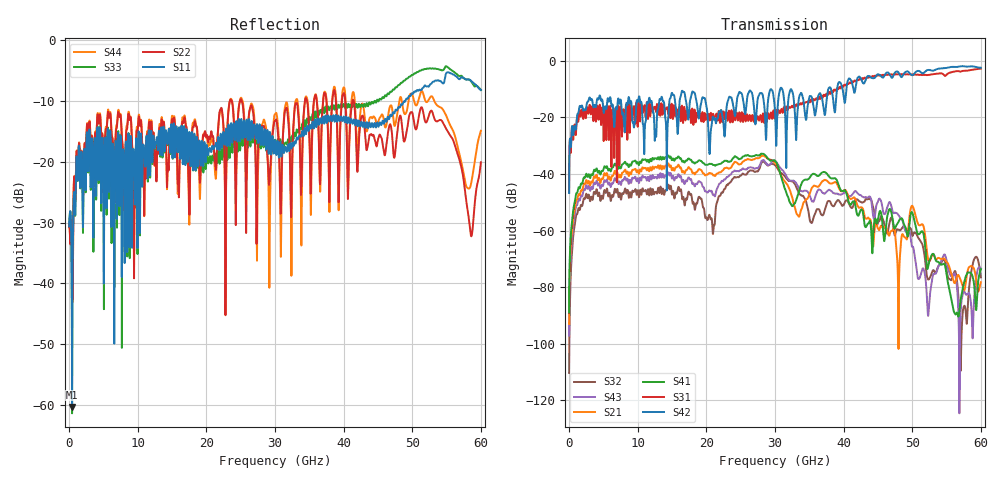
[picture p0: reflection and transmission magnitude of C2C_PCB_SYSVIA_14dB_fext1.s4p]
!$Gore$
!C2C PCB Topology at Nominal
!Tuned Ballou BGA and Tuned Mayfield BOR
!Created with Channel Assembly Tool v1.0.4
# Hz S RI R 50
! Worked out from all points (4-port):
!   6000 points, 10 MHz to 60 GHz, reference 50 ohm
!   strongest paths, dB at 10 MHz, 15.01 GHz, 30.01 GHz, 45.01 GHz, 60 GHz:
!     S42: -46.7, -11.4, -18.1, -4.7, -2.5
!     S31: -46.6, -16.1, -19.5, -5.1, -2.8
!     S41: -89.0, -35.1, -35.4, -55.9, -73.6
!     S21: -92.9, -38.7, -36.1, -59.3, -78.2
!     S43: -97.1, -41.6, -35.3, -49.7, -73.4
!     S32: -110.3, -47.3, -36.9, -57.3, -76.5
!   lowest |S11| = -60.4 dB at 440 MHz (marker M1), VSWR 1.00, Z = 50.1 - j0.0248 ohm
!   |S11| at or under -10 dB: start of sweep to 48.99 GHz
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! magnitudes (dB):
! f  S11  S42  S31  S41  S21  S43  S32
! 10 MHz  -30.6  -46.7  -46.6  -89.0  -92.9  -97.1  -110.3
! 440 MHz  -60.4  -23.0  -23.2  -56.7  -59.8  -62.8  -67.3
! 2.64 GHz  -15.2  -14.7  -16.4  -40.7  -43.0  -44.8  -48.1
! 20.97 GHz  -17.6  -19.8  -18.7  -36.8  -40.5  -47.4  -61.2
! 28.31 GHz  -17.2  -13.4  -19.0  -32.9  -33.5  -35.1  -35.5
! 52.33 GHz  -7.6  -3.2  -5.0  -72.6  -70.3  -90.0  -77.3
! 60 GHz  -8.2  -2.5  -2.8  -73.6  -78.2  -73.4  -76.5
